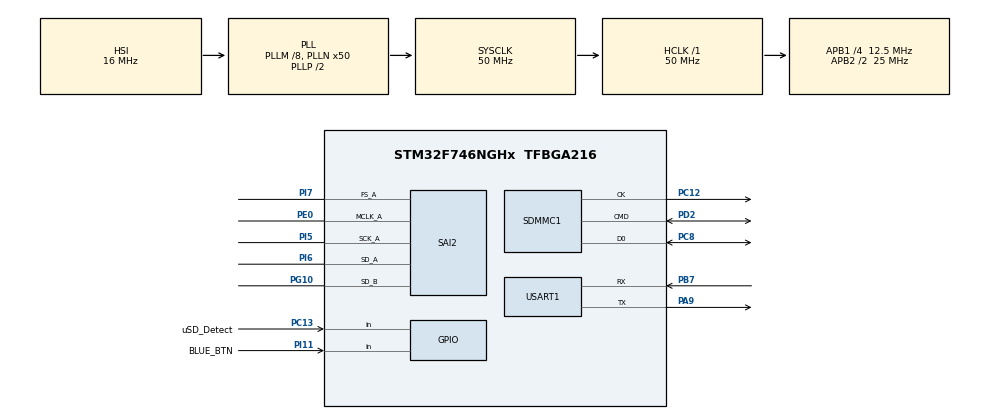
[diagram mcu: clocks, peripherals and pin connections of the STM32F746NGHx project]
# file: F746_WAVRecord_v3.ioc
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Dma.Request0=SAI2_B
Dma.Request1=SDMMC1_RX
Dma.Request2=SDMMC1_TX
Dma.Request3=SAI2_A
Dma.SAI2_A.3.Direction=DMA_MEMORY_TO_PERIPH
Dma.SAI2_A.3.FIFOMode=DMA_FIFOMODE_DISABLE
Dma.SAI2_A.3.Instance=DMA2_Stream4
Dma.SAI2_A.3.MemDataAlignment=DMA_MDATAALIGN_HALFWORD
Dma.SAI2_A.3.MemInc=DMA_MINC_ENABLE
Dma.SAI2_A.3.Mode=DMA_NORMAL
Dma.SAI2_A.3.PeriphDataAlignment=DMA_PDATAALIGN_HALFWORD
Dma.SAI2_A.3.PeriphInc=DMA_PINC_DISABLE
Dma.SAI2_A.3.Priority=DMA_PRIORITY_LOW
Dma.SAI2_B.0.Direction=DMA_PERIPH_TO_MEMORY
Dma.SAI2_B.0.FIFOMode=DMA_FIFOMODE_DISABLE
Dma.SAI2_B.0.Instance=DMA2_Stream7
Dma.SAI2_B.0.MemDataAlignment=DMA_MDATAALIGN_HALFWORD
Dma.SAI2_B.0.MemInc=DMA_MINC_ENABLE
Dma.SAI2_B.0.Mode=DMA_CIRCULAR
Dma.SAI2_B.0.PeriphDataAlignment=DMA_PDATAALIGN_HALFWORD
Dma.SAI2_B.0.PeriphInc=DMA_PINC_DISABLE
Dma.SAI2_B.0.Priority=DMA_PRIORITY_HIGH
Dma.SDMMC1_RX.1.Direction=DMA_PERIPH_TO_MEMORY
Dma.SDMMC1_RX.1.FIFOMode=DMA_FIFOMODE_ENABLE
Dma.SDMMC1_RX.1.FIFOThreshold=DMA_FIFO_THRESHOLD_FULL
Dma.SDMMC1_RX.1.Instance=DMA2_Stream6
Dma.SDMMC1_RX.1.MemBurst=DMA_MBURST_INC4
Dma.SDMMC1_RX.1.MemDataAlignment=DMA_MDATAALIGN_WORD
Dma.SDMMC1_RX.1.MemInc=DMA_MINC_ENABLE
Dma.SDMMC1_RX.1.Mode=DMA_PFCTRL
Dma.SDMMC1_RX.1.PeriphBurst=DMA_PBURST_INC4
Dma.SDMMC1_RX.1.PeriphDataAlignment=DMA_PDATAALIGN_WORD
Dma.SDMMC1_RX.1.PeriphInc=DMA_PINC_DISABLE
Dma.SDMMC1_RX.1.Priority=DMA_PRIORITY_LOW
Dma.SDMMC1_TX.2.Direction=DMA_MEMORY_TO_PERIPH
Dma.SDMMC1_TX.2.FIFOMode=DMA_FIFOMODE_ENABLE
Dma.SDMMC1_TX.2.FIFOThreshold=DMA_FIFO_THRESHOLD_FULL
Dma.SDMMC1_TX.2.Instance=DMA2_Stream3
Dma.SDMMC1_TX.2.MemBurst=DMA_MBURST_INC4
Dma.SDMMC1_TX.2.MemDataAlignment=DMA_MDATAALIGN_WORD
Dma.SDMMC1_TX.2.MemInc=DMA_MINC_ENABLE
Dma.SDMMC1_TX.2.Mode=DMA_PFCTRL
Dma.SDMMC1_TX.2.PeriphBurst=DMA_PBURST_INC4
Dma.SDMMC1_TX.2.PeriphDataAlignment=DMA_PDATAALIGN_WORD
Dma.SDMMC1_TX.2.PeriphInc=DMA_PINC_DISABLE
Dma.SDMMC1_TX.2.Priority=DMA_PRIORITY_LOW
FATFS.BSP.number=1
FATFS.USE_DMA_CODE_SD=1
FATFS0.BSP.STBoard=false
FATFS0.BSP.api=Unknown
FATFS0.BSP.instance=PC13
FATFS0.BSP.ip=GPIO
FATFS0.BSP.mode=Input
FATFS0.BSP.name=Detect_SDIO
FATFS0.BSP.solution=PC13
Mcu.Family=STM32F7
Mcu.Name=STM32F746NGHx
Mcu.Package=TFBGA216
NVIC.DMA2_Stream3_IRQn=true\:0\:0\:false\:false\:true\:false\:true\:true
NVIC.DMA2_Stream4_IRQn=true\:0\:0\:false\:false\:true\:false\:true\:true
NVIC.DMA2_Stream6_IRQn=true\:0\:0\:false\:false\:true\:false\:true\:true
NVIC.DMA2_Stream7_IRQn=true\:0\:0\:false\:false\:true\:false\:true\:true
NVIC.PriorityGroup=NVIC_PRIORITYGROUP_4
NVIC.SDMMC1_IRQn=true\:0\:0\:false\:false\:true\:true\:true\:true
PA13.Mode=Serial_Wire
PA13.Signal=SYS_JTMS-SWDIO
PA14.Mode=Serial_Wire
PA14.Signal=SYS_JTCK-SWCLK
PA9.Mode=Asynchronous
PA9.Signal=USART1_TX
PB7.Mode=Asynchronous
PB7.Signal=USART1_RX
PC12.Mode=SD_1_bit
PC12.Signal=SDMMC1_CK
PC13.GPIO_Label=uSD_Detect
PC13.Signal=GPIO_Input
PC14/OSC32_IN.Mode=LSE-External-Oscillator
PC14/OSC32_IN.Signal=RCC_OSC32_IN
PC15/OSC32_OUT.Mode=LSE-External-Oscillator
PC15/OSC32_OUT.Signal=RCC_OSC32_OUT
PC8.Mode=SD_1_bit
PC8.Signal=SDMMC1_D0
PD2.Mode=SD_1_bit
PD2.Signal=SDMMC1_CMD
PE0.Mode=SAI_A_MasterWithClock
PE0.Signal=SAI2_MCLK_A
PG10.Mode=SAI_B_SyncSlave
PG10.Signal=SAI2_SD_B
PH0/OSC_IN.Mode=HSE-External-Oscillator
PH0/OSC_IN.Signal=RCC_OSC_IN
PH1/OSC_OUT.Mode=HSE-External-Oscillator
PH1/OSC_OUT.Signal=RCC_OSC_OUT
PI11.GPIO_Label=BLUE_BTN
PI11.Signal=GPIO_Input
PI5.Mode=SAI_A_MasterWithClock
PI5.Signal=SAI2_SCK_A
PI6.Mode=SAI_A_MasterWithClock
PI6.Signal=SAI2_SD_A
PI7.Mode=SAI_A_MasterWithClock
PI7.Signal=SAI2_FS_A
ProjectManager.HeapSize=0x400
ProjectManager.StackSize=0x800
ProjectManager.TargetToolchain=CMake
RCC.AHBFreq_Value=50000000
RCC.APB1CLKDivider=RCC_HCLK_DIV4
RCC.APB1Freq_Value=12500000
RCC.APB1TimFreq_Value=25000000
RCC.APB2CLKDivider=RCC_HCLK_DIV2
RCC.APB2Freq_Value=25000000
RCC.APB2TimFreq_Value=50000000
RCC.CortexFreq_Value=50000000
RCC.HCLKFreq_Value=50000000
RCC.HSE_VALUE=25000000
RCC.HSI_VALUE=16000000
RCC.PLLM=8
RCC.PLLN=50
RCC.PLLSAIN=50
RCC.PLLSourceVirtual=RCC_PLLSOURCE_HSI
RCC.SYSCLKFreq_VALUE=50000000
RCC.SYSCLKSource=RCC_SYSCLKSOURCE_PLLCLK
RCC.USBFreq_Value=50000000
RCC.VCOOutputFreq_Value=100000000
SAI2.ErrorAudioFreq-SAI_A_MasterWithClock=1.72 %
SAI2.Instance-SAI_A_MasterWithClock=SAI$Index_Block_A
SAI2.Instance-SAI_B_SyncSlave=SAI$Index_Block_B
SAI2.MClockEnable-SAI_A_MasterWithClock=SAI_MASTERCLOCK_ENABLE
SAI2.RealAudioFreq-SAI_A_MasterWithClock=195.312 KHz
SAI2.VirtualMode-SAI_A_MasterWithClock=VM_MASTER
SAI2.VirtualMode-SAI_B_SyncSlave=VM_SLAVE
USART1.VirtualMode-Asynchronous=VM_ASYNC
VP_FATFS_VS_SDIO.Mode=SDIO
VP_TIM1_VS_ClockSourceINT.Mode=Internal
board=STM32F746G-DISCO

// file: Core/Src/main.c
/* USER CODE BEGIN Header */
/**
 ******************************************************************************
 * @file           : main.c
 * @brief          : Main program body
 ******************************************************************************
 * @attention
 *
 * Copyright (c) 2024 STMicroelectronics.
 * All rights reserved.
 *
 * This software is licensed under terms that can be found in the LICENSE file
 * in the root directory of this software component.
 * If no LICENSE file comes with this software, it is provided AS-IS.
 *
 ******************************************************************************
 */
/* USER CODE END Header */
#include "main.h"
#include "dma.h"
#include "fatfs.h"
#include "sai.h"
#include "sdmmc.h"
#include "tim.h"
#include "usart.h"
#include "gpio.h"

/* USER CODE BEGIN Includes */
#include <string.h>
#include "wavutil.h"
/* USER CODE END Includes */

/* USER CODE BEGIN PV */
char *msg;
FRESULT fres;
AUDIO_IN_BufferTypeDef BufferCtl;
/* USER CODE END PV */

void SystemClock_Config(void);
void PeriphCommonClock_Config(void);

int main(void)
{

  /* MCU Configuration--------------------------------------------------------*/

  /* Reset of all peripherals, Initializes the Flash interface and the Systick. */
  HAL_Init();

  /* Configure the system clock */
  SystemClock_Config();

  /* Configure the peripherals common clocks */
  PeriphCommonClock_Config();

  /* Initialize all configured peripherals */
  MX_GPIO_Init();
  MX_DMA_Init();
  MX_SAI2_Init();
  MX_TIM1_Init();
  MX_SDMMC1_SD_Init();
  MX_USART1_UART_Init();
  MX_FATFS_Init();
  /* USER CODE BEGIN 2 */
  char *msg = "==== STM32F746-DISCO Audio Recording Test ====\n";
  HAL_UART_Transmit(&huart1, (uint8_t *)msg, strlen(msg), 0xFFF);
  if (f_mount(&SDFatFS, (TCHAR const *)SDPath, 0) != FR_OK)
  {
    msg = "SD Mount ERROR\n";
    HAL_UART_Transmit(&huart1, (uint8_t *)msg, strlen(msg), 0xFFF);
    Error_Handler();
  }
  else
  {
    msg = "SD Mount SUCCESS\n";
    HAL_UART_Transmit(&huart1, (uint8_t *)msg, strlen(msg), 0xFFF);
  }
  /* USER CODE END 2 */

  /* Infinite loop */
  /* USER CODE BEGIN WHILE */
  while (1)
  {
    msg = "==== Press Blue Button To Start Initializing ====\n";
    HAL_UART_Transmit(&huart1, (uint8_t *)msg, strlen(msg), 0xFFF);
    while (!HAL_GPIO_ReadPin(BLUE_BTN_GPIO_Port, BLUE_BTN_Pin))
    {
      // wait for blue button to be pressed
    }

    if (Audio_Rec_Start() != AUDIO_ERROR_NONE)
    {
      msg = "Writing Header ERROR\n";
      HAL_UART_Transmit(&huart1, (uint8_t *)msg, strlen(msg), 0xFFF);
      Error_Handler();
    }
    else
    {
      msg = "Writing Header Finished\n";
      HAL_UART_Transmit(&huart1, (uint8_t *)msg, strlen(msg), 0xFFF);

      msg = "Start Recording...\n";
      HAL_UART_Transmit(&huart1, (uint8_t *)msg, strlen(msg), 0xFFF);
      while (BufferCtl.fptr <= REC_SAMPLE_LENGTH)
      {
        if (Audio_Rec_Process() != AUDIO_ERROR_NONE)
        {
          msg = "Recording ERROR\n";
          HAL_UART_Transmit(&huart1, (uint8_t *)msg, strlen(msg), 0xFFF);
          break;
        };
      }
    }

    msg = "Recording Finished\n";
    HAL_UART_Transmit(&huart1, (uint8_t *)msg, strlen(msg), 0xFFF);
    f_close(&SDFile); // close file
    /* USER CODE END WHILE */

  }
}

void SystemClock_Config(void)
{
  RCC_OscInitTypeDef RCC_OscInitStruct = {0};
  RCC_ClkInitTypeDef RCC_ClkInitStruct = {0};

  /** Configure LSE Drive Capability
  */
  HAL_PWR_EnableBkUpAccess();

  /** Configure the main internal regulator output voltage
  */
  __HAL_RCC_PWR_CLK_ENABLE();
  __HAL_PWR_VOLTAGESCALING_CONFIG(PWR_REGULATOR_VOLTAGE_SCALE3);

  /** Initializes the RCC Oscillators according to the specified parameters
  * in the RCC_OscInitTypeDef structure.
  */
  RCC_OscInitStruct.OscillatorType = RCC_OSCILLATORTYPE_HSI;
  RCC_OscInitStruct.HSIState = RCC_HSI_ON;
  RCC_OscInitStruct.HSICalibrationValue = RCC_HSICALIBRATION_DEFAULT;
  RCC_OscInitStruct.PLL.PLLState = RCC_PLL_ON;
  RCC_OscInitStruct.PLL.PLLSource = RCC_PLLSOURCE_HSI;
  RCC_OscInitStruct.PLL.PLLM = 8;
  RCC_OscInitStruct.PLL.PLLN = 50;
  RCC_OscInitStruct.PLL.PLLP = RCC_PLLP_DIV2;
  RCC_OscInitStruct.PLL.PLLQ = 2;
  if (HAL_RCC_OscConfig(&RCC_OscInitStruct) != HAL_OK)
  {
    Error_Handler();
  }

  /** Initializes the CPU, AHB and APB buses clocks
  */
  RCC_ClkInitStruct.ClockType = RCC_CLOCKTYPE_HCLK|RCC_CLOCKTYPE_SYSCLK
                              |RCC_CLOCKTYPE_PCLK1|RCC_CLOCKTYPE_PCLK2;
  RCC_ClkInitStruct.SYSCLKSource = RCC_SYSCLKSOURCE_PLLCLK;
  RCC_ClkInitStruct.AHBCLKDivider = RCC_SYSCLK_DIV1;
  RCC_ClkInitStruct.APB1CLKDivider = RCC_HCLK_DIV4;
  RCC_ClkInitStruct.APB2CLKDivider = RCC_HCLK_DIV2;

  if (HAL_RCC_ClockConfig(&RCC_ClkInitStruct, FLASH_LATENCY_1) != HAL_OK)
  {
    Error_Handler();
  }
}

void PeriphCommonClock_Config(void)
{
  RCC_PeriphCLKInitTypeDef PeriphClkInitStruct = {0};

  /** Initializes the peripherals clock
  */
  PeriphClkInitStruct.PeriphClockSelection = RCC_PERIPHCLK_SAI2;
  PeriphClkInitStruct.PLLSAI.PLLSAIN = 50;
  PeriphClkInitStruct.PLLSAI.PLLSAIR = 2;
  PeriphClkInitStruct.PLLSAI.PLLSAIQ = 2;
  PeriphClkInitStruct.PLLSAI.PLLSAIP = RCC_PLLSAIP_DIV2;
  PeriphClkInitStruct.PLLSAIDivQ = 1;
  PeriphClkInitStruct.PLLSAIDivR = RCC_PLLSAIDIVR_2;
  PeriphClkInitStruct.Sai2ClockSelection = RCC_SAI2CLKSOURCE_PLLSAI;
  if (HAL_RCCEx_PeriphCLKConfig(&PeriphClkInitStruct) != HAL_OK)
  {
    Error_Handler();
  }
}

void Error_Handler(void)
{
  __disable_irq();
  while (1)
  {
  }
}
